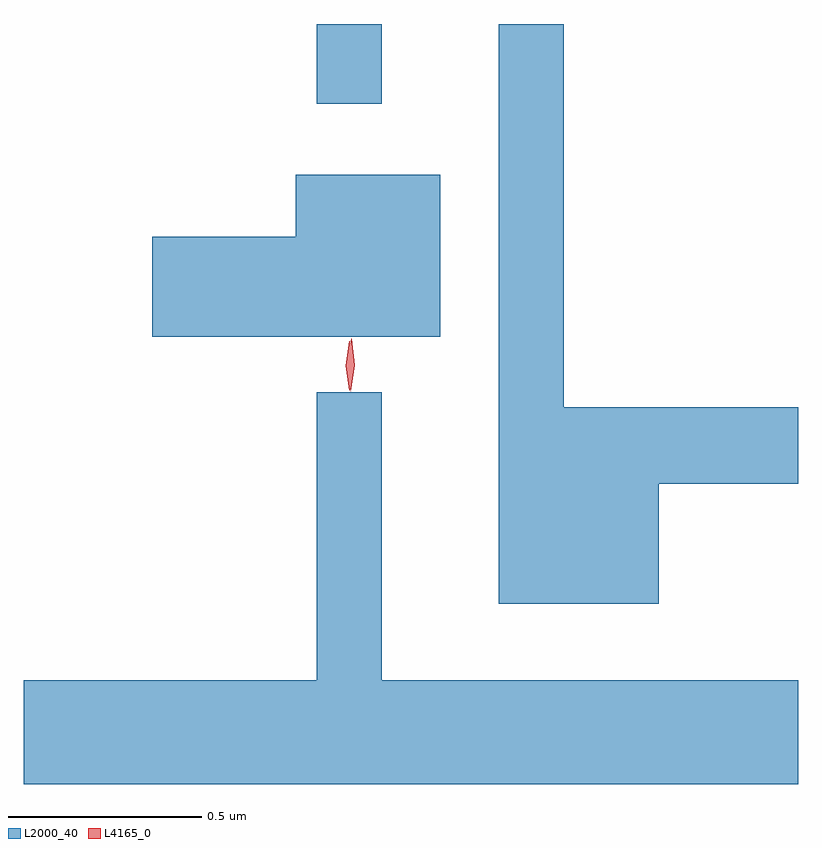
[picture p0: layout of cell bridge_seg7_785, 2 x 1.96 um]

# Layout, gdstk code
import gdstk
lib = gdstk.Library(unit=1e-6, precision=1e-09)
def R(c, l, rs):  # rectangles x0, y0, x1, y1
    for r in rs: c.add(gdstk.rectangle(r[:2], r[2:], *l))
def P(c, l, *ps):  # polygons
    for p in ps: c.add(gdstk.Polygon(p, *l))
L2000_40 = (2000, 40)
L4165_0 = (4165, 0)

bridge_seg7_785 = lib.new_cell('bridge_seg7_785')
R(bridge_seg7_785, L2000_40, [(463.991,1800.433,464.159,1800.639)])
P(bridge_seg7_785, L2000_40, [(464.874,1799.451),(465.234,1799.451),(465.234,1799.649),(464.629,1799.649),(464.629,1800.639),(464.461,1800.639),(464.461,1799.141),(464.874,1799.141)],
  [(464.309,1800.249),(463.936,1800.249),(463.936,1800.089),(463.566,1800.089),(463.566,1799.831),(464.309,1799.831)],
  [(465.234,1798.944),(464.159,1798.944),(464.159,1799.688),(463.991,1799.688),(463.991,1798.944),(463.234,1798.944),(463.234,1798.676),(465.234,1798.676)])
P(bridge_seg7_785, L4165_0, [(464.078,1799.69),(464.078,1799.69),(464.069,1799.758),(464.08,1799.826),(464.08,1799.826),(464.081,1799.826),(464.089,1799.758),(464.079,1799.69)],
  [(464.074,1799.693),(464.065,1799.756),(464.074,1799.819),(464.075,1799.82),(464.076,1799.819),(464.085,1799.756),(464.076,1799.693),(464.075,1799.693)])

lib.write_gds('bridge_seg7_785.gds')
